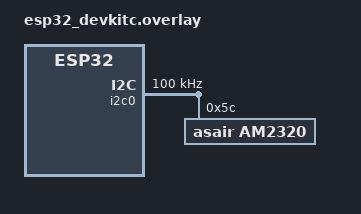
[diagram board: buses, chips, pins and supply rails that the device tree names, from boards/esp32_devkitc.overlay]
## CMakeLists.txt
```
cmake_minimum_required(VERSION 3.20.0)

find_package(Zephyr REQUIRED HINTS $ENV{ZEPHYR_BASE})

project(hot-or-not LANGUAGES C)

target_sources(app PRIVATE 
    src/main.c
    src/smtp_client.c
    src/tls/hon_tls.c
    src/hon_sntp.c
)

# Get cert PEM filename from secrets config
file(STRINGS "smtp.secrets.conf" CONFIG_LINE REGEX "SMTP_CA_PEM_FILENAME")

# extract just the filename part
string(REGEX REPLACE ".*\"([^\"]+)\".*" "\\1" CA_PEM_FILENAME "${CONFIG_LINE}")

# append .inc
set(CA_PEM_INC_FILENAME "${CA_PEM_FILENAME}.inc")

# make it a compile definition to include it down the line
add_compile_definitions(app PRIVATE CA_PEM_INC_FILENAME="${CA_PEM_INC_FILENAME}")

generate_inc_file_for_target(app
    src/tls/${CA_PEM_FILENAME}
    ${ZEPHYR_BINARY_DIR}/include/generated/${CA_PEM_INC_FILENAME}
)

target_link_libraries(app PRIVATE conn_mgr)
```

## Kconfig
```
config WIFI_SSID
    string "WiFi SSID to connect to"
    help
        The WiFi SSID that the board will connect to. 

config WIFI_SECURITY
    int "wifi.h wifi_security_type"
    default 0
    help
        "see zephyr/net/wifi.h enum wifi_security_type. Default 0 (no security)"

config WIFI_PSK
    string "WiFi password"
    depends on WIFI_SECURITY != 0
    help
        The WiFi password that the board will use to connect to the WiFi network.

config SENSOR_SAMPLE_RATE
    int "Sensor sample wait time"
    default 10
    help
        The time to wait between sensor samples, in seconds.

config SENSOR_READ_ALL_CHANNELS
    bool "Read temperature and humidity channels at the same time"
    default y
    help
        If enabled, the driver will read both temperature and humidity channels in a single I2C transaction (faster). 

config SNTP_SERVER
    string "SNTP server IP"
    help
        Sets the SNTP server IP address

rsource "smtp.Kconfig"

menu "Zephyr Kernel"
source "Kconfig.zephyr"
endmenu

module = APP
module-str = APP
source "subsys/logging/Kconfig.template.log_config"
```

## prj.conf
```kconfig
# terminal requirements
CONFIG_SERIAL=y
CONFIG_CONSOLE=y
CONFIG_PRINTK=y

# sensor driver
CONFIG_SENSOR=y
CONFIG_I2C=y
CONFIG_AM2320=y

# logging
CONFIG_LOG=y
CONFIG_LOG_BUFFER_SIZE=2048

# stack sizes
CONFIG_SYSTEM_WORKQUEUE_STACK_SIZE=2048
CONFIG_MAIN_STACK_SIZE=8192

# kernel shell
CONFIG_KERNEL_SHELL=y
CONFIG_REBOOT=y

# wifi and networking requirements
CONFIG_NETWORKING=y
CONFIG_WIFI=y
CONFIG_WIFI_LOG_LEVEL_ERR=y

CONFIG_NET_TX_STACK_SIZE=2048
CONFIG_NET_PKT_TX_COUNT=10
CONFIG_NET_BUF_TX_COUNT=20

CONFIG_NET_RX_STACK_SIZE=2048
CONFIG_NET_PKT_RX_COUNT=10
CONFIG_NET_BUF_RX_COUNT=10

CONFIG_NET_MAX_CONTEXTS=10

CONFIG_NET_SOCKETS=y
CONFIG_NET_IPV4=y
CONFIG_NET_IPV6=y
CONFIG_NET_TCP=y
CONFIG_NET_UDP=y
CONFIG_NET_DHCPV4=y
CONFIG_DNS_RESOLVER=y

CONFIG_NET_LOG=y
CONFIG_NET_SHELL=y
CONFIG_NET_L2_WIFI_SHELL=y

CONFIG_NET_MGMT_EVENT_QUEUE_SIZE=16
CONFIG_NET_MGMT_EVENT_QUEUE_TIMEOUT=5000

# security requirements
CONFIG_MBEDTLS=y

# conn-mgr
CONFIG_MODULE_CONN_MGR=y

# sntp
CONFIG_SNTP=y
CONFIG_DATE_SHELL=y
CONFIG_SNTP_SERVER="pool.ntp.org"

# stack protection
CONFIG_STACK_SENTINEL=y
```

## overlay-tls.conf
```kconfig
CONFIG_NET_BUF_RX_COUNT=80
CONFIG_NET_BUF_TX_COUNT=80

# TLS configuration
CONFIG_MBEDTLS=y
CONFIG_MBEDTLS_ENABLE_HEAP=y
CONFIG_MBEDTLS_HEAP_SIZE=60000
CONFIG_MBEDTLS_CIPHERSUITE_TLS_ECDHE_RSA_WITH_AES_128_GCM_SHA256=y
CONFIG_MBEDTLS_CIPHERSUITE_TLS_ECDHE_ECDSA_WITH_AES_128_GCM_SHA256=y
CONFIG_MBEDTLS_PEM_PARSE_C=y
CONFIG_MBEDTLS_HEAP_SIZE=60000
CONFIG_MBEDTLS_SSL_MAX_CONTENT_LEN=4096

CONFIG_NET_SOCKETS_SOCKOPT_TLS=y
CONFIG_NET_SOCKETS_TLS_MAX_CONTEXTS=2

# CONFIG_MBEDTLS_DEBUG=y
# CONFIG_MBEDTLS_LOG_LEVEL_DBG=y
# CONFIG_NET_SOCKETS_LOG_LEVEL_DBG=y
```

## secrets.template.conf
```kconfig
# RENAMEME -> secrets.conf

CONFIG_WIFI_SSID="MySSID"
CONFIG_WIFI_SECURITY=1
CONFIG_WIFI_PSK="MyPassword"
CONFIG_SMTP_SECRET="MyAppPassword"
CONFIG_SMTP_EMAIL="foo@bar.com"
CONFIG_SMTP_SERVER="smtp.example.com"
```

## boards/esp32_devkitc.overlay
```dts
// For the AM2320 T&H sensor see
// https://cdn-shop.adafruit.com/product-files/3721/AM2320.pdf

/ {
    aliases {
        // add node aliases here
        tandh = &am2320;
    };

    chosen {
        // add zephyr chosen nodes here
    };
};

// add pinctrl configurations for gpios here
&pinctrl {
    i2c0_default: i2c0_default {
        group1 {
            pinmux = <I2C0_SDA_GPIO16>,
                <I2C0_SCL_GPIO17>;
            // datasheet specifies both pins need pullup
            bias-pull-up;
            output-high;
            drive-open-drain;
        };
    };
};

&i2c0 {
    status = "okay";
    clock-frequency = <I2C_BITRATE_STANDARD>; // do not exceed this speed
    pinctrl-0 = <&i2c0_default>;
    pinctrl-names = "default";

    am2320: am2320@5c {
        status = "okay";
        compatible = "asair,am2320";
        reg = <0x5c>;
    };
};
```

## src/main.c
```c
#include <stdio.h>
#include <zephyr/kernel.h>
#include <zephyr/logging/log.h>
#include <zephyr/net/icmp.h>
#include <string.h>
#include <zephyr/drivers/sensor.h>

#include <conn_mgr.h>

#include "smtp_client.h"
#include "hon_sntp.h"
#include "tls/hon_tls.h"

LOG_MODULE_REGISTER(main);

// get am2320 device
#define TANDH_NODE DT_ALIAS(tandh)
const struct device* dev_tandh = DEVICE_DT_GET(TANDH_NODE);

// ping callback
static volatile bool ping_done;
static volatile bool inet_ok;

void ping_cb(int code) {
    ping_done = true;

    if (code == 0) {
        LOG_INF("Ping successful!");
        inet_ok = true;
    } else {
        LOG_ERR("Ping failed with code %d", code);
    }
}


#define MAX_IP_STR 16
#define DNS_QUERY_TIMEOUT_MS 12000
#define DNS_QUERY_MAX_RETRIES 5

#define WIFI_CONNECT_TIMEOUT_MS 10000
#define WIFI_CONNECT_MAX_RETRIES 3

static bool dns_query_ok = false;
static char found_ip[MAX_IP_STR];
void query_cb(char* resolved_ip) {
    if (!dns_query_ok) {
        int len = strnlen(resolved_ip, MAX_IP_STR - 1);
        memcpy(found_ip, resolved_ip, len);
        found_ip[len] = '\0';
        LOG_INF("DNS Query successful! Resolved IP: %s", found_ip);
        dns_query_ok = true;
    } else
        LOG_WRN("Ignoring duplicate DNS response.");
}

/// TODO: Turn this into a thread
#define SNTP_RESYNC_PERIOD K_HOURS(24)
static struct k_work_delayable sntp_resync_dwork;
static void sntp_resync_handler(struct k_work* work) {
    int ret = hon_sntp_get_time();
    if (ret < 0) 
        LOG_ERR("RESYNC FAILED: (%d)! TOO BAD!", ret);
        
    k_work_reschedule(&sntp_resync_dwork, SNTP_RESYNC_PERIOD);
}

int main(void) {
    k_msleep(500);
    LOG_INF("Hello, Carlson!");

    conn_mgr_init();

    // spin until connected
    int timeout_ms = WIFI_CONNECT_TIMEOUT_MS;
    int max_retries = WIFI_CONNECT_MAX_RETRIES;
    int attempt = 0;
    while (!conn_mgr_is_connected() && attempt < max_retries) {
        int ret = conn_mgr_connect();
        if (ret < 0)            
            LOG_WRN("Connection attempt failed with code %d", ret);

        LOG_INF("Waiting for connection... (attempt %d/%d)", attempt + 1, max_retries);
        k_msleep(timeout_ms / max_retries);
        attempt++;
    }

    if (!conn_mgr_is_connected()) {
        LOG_ERR("Could not connect to WiFi network after %d attempts, aborting tests.", max_retries);
        return -1;
    }

    conn_mgr_enable_watchdog();

    // spin until we get dns resolution
    timeout_ms = DNS_QUERY_TIMEOUT_MS;
    max_retries = DNS_QUERY_MAX_RETRIES;
    attempt = 0; // reset attempt counter
    while (!dns_query_ok && attempt < max_retries) {
        LOG_INF("Performing DNS query of %s... (attempt %d/%d)", CONFIG_SMTP_SERVER, attempt + 1, max_retries);
        conn_mgr_dns_query(CONFIG_SMTP_SERVER, query_cb);
        k_msleep(timeout_ms / max_retries);
        attempt++;
    }
    if (!dns_query_ok) {
        LOG_ERR("Could not resolve IP for %s after %d attempts, aborting tests.", CONFIG_SMTP_SERVER, max_retries);
        return -1;
    }

    // ping the resolved IP
    attempt = 0;
    while (!inet_ok && attempt < max_retries) {
        ping_done = false;

        LOG_INF("Pinging %s... (attempt %d/%d)",
                found_ip, attempt + 1, max_retries);

        int ret = conn_mgr_ping_host(found_ip, ping_cb);
        if (ret < 0) {
            LOG_ERR("Could not start ping: %d", ret);
            break;
        }

        int elapsed = 0;
        while (!ping_done && elapsed < timeout_ms) {
            k_msleep(100);
            elapsed += 100;
        }

        if (!ping_done)
            LOG_WRN("Ping timed out waiting for callback");

        attempt++;
    }

    if (!inet_ok) {
        LOG_ERR("Could not ping host after %d attempts, aborting tests.", max_retries);
        return -1;
    }

    // set smtp address
    smtp_set_server_ipaddr(found_ip, CONFIG_SMTP_SERVER);

    // get sntp address
    attempt = 0; // reset attempt counter
    dns_query_ok = false; // reset ok flag
    while (!dns_query_ok && attempt < max_retries) {
        LOG_INF("Performing DNS query of %s... (attempt %d/%d)", CONFIG_SNTP_SERVER, attempt + 1, max_retries);
        conn_mgr_dns_query(CONFIG_SNTP_SERVER, query_cb);
        k_msleep(timeout_ms / max_retries);
        attempt++;
    }
        if (!dns_query_ok) {
        LOG_ERR("Could not resolve IP for %s after %d attempts, aborting tests.", CONFIG_SNTP_SERVER, max_retries);
        return -1;
    }

    hon_sntp_set_server_ipaddr(found_ip);

    // enable sntp timer, run once now and do every 24 hours
    k_work_init_delayable(&sntp_resync_dwork, sntp_resync_handler);
    k_work_reschedule(&sntp_resync_dwork, K_NO_WAIT);

    LOG_INF("Waiting for first-time time sync...");
    while (!hon_sntp_ok())
        k_msleep(100);

    LOG_INF("Network tests OK, starting SMTP test");

    k_msleep(1000);

    int ret = hon_tls_init();
    if (ret < 0) {
        LOG_ERR("Failed to start TLS");
        return 1;
    } else 
        LOG_INF("TLS Started");

    ret = smtp_client_hello_auth();
    if (ret < 0) {
        LOG_ERR("SMTP hello and auth failed");
        return 1;
    }

    LOG_INF("SMTP tests OK");
    
    if (!device_is_ready(dev_tandh)) {
        LOG_ERR("Ah breh ts dont work");
        return 1;
    } else {
        LOG_INF("Found temperature and humidity sensor!");
    }

    for (;;) {
        double temp = -1;
        double humid = -1;

        k_sleep(K_SECONDS(CONFIG_SENSOR_SAMPLE_RATE));

#if defined(CONFIG_SENSOR_READ_ALL_CHANNELS)
        ret = sensor_sample_fetch_chan(dev_tandh, SENSOR_CHAN_ALL);
        if (ret < 0) {
            LOG_ERR("Fetch all channels failed: %d", ret);
            continue;
        }
#else
        ret = sensor_sample_fetch_chan(dev_tandh, SENSOR_CHAN_AMBIENT_TEMP);
        if (ret < 0) {
            LOG_ERR("Get ambient temp failed: %d", ret);
            continue;
        }

        k_msleep(2000);

        ret = sensor_sample_fetch_chan(dev_tandh, SENSOR_CHAN_HUMIDITY);
        if (ret < 0) {
            LOG_ERR("Get humidity failed: %d", ret);
            continue;
        }
#endif

        k_msleep(1);

        struct sensor_value temp_val;
        ret = sensor_channel_get(dev_tandh, SENSOR_CHAN_AMBIENT_TEMP, &temp_val);
        if (ret < 0) {
            LOG_ERR("Get ambient temp failed: %d", ret); 
            continue;
        }
        temp = temp_val.val1 + temp_val.val2 / 10.0;

        struct sensor_value humid_val;
        ret = sensor_channel_get(dev_tandh, SENSOR_CHAN_HUMIDITY, &humid_val);
        if (ret < 0) {  
            LOG_ERR("Get humidity failed: %d", ret); 
            continue;
        }
        humid = humid_val.val1 + humid_val.val2 / 10.0;

        double temp_f = temp * 9 / 5 + 32;

        LOG_INF("Temperature: %.1f C (%.1f F), Humidity: %.1f %%", temp, temp_f, humid);
    }

    return 0;
}
```

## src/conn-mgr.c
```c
#include "conn-mgr.h"

#include <zephyr/kernel.h>
#include <zephyr/logging/log.h>
#include <zephyr/net/wifi_mgmt.h>
#include <zephyr/shell/shell.h>
#include <zephyr/net/icmp.h>
#include <zephyr/net/dns_resolve.h>
#include <zephyr/sys/reboot.h>

// see sample:
// https://github.com/zephyrproject-rtos/zephyr/blob/main/samples/net/wifi/apsta_mode/src/main.c

LOG_MODULE_REGISTER(conn_mgr);

#define MACSTR "%02X:%02X:%02X:%02X:%02X:%02X"

#define NET_EVENT_WIFI_MASK                                                    \
            (NET_EVENT_WIFI_CONNECT_RESULT   | NET_EVENT_WIFI_DISCONNECT_RESULT |  \
             NET_EVENT_WIFI_AP_ENABLE_RESULT | NET_EVENT_WIFI_AP_DISABLE_RESULT |  \
             NET_EVENT_WIFI_AP_STA_CONNECTED | NET_EVENT_WIFI_AP_STA_DISCONNECTED)

#define DNS_TIMEOUT_MS 2000
#define CONN_WATCHDOG_PERIOD K_SECONDS(5)
#define CONN_WATCHDOG_MAX_MISSES 12

static int watchdog_enabled = false;
static struct k_work_delayable conn_watchdog_work;
static uint32_t watchdog_disconnect_count;

// configs for wifi station mode
static struct net_if *sta_iface;
static struct wifi_connect_req_params sta_wifi_config;

// configs for pings
static struct k_sem ping_sem;
static struct net_icmp_ctx icmp_ctx;

// callbacks
static struct net_mgmt_event_callback net_mgmt_event_cb;

// flags
static bool initd = false;
static bool connected = false;

static void conn_watchdog_handler(struct k_work *work);

static void wifi_event_handler(struct net_mgmt_event_callback *cb, uint64_t event_code, struct net_if *iface) {
    switch (event_code) {
        case NET_EVENT_WIFI_CONNECT_RESULT:
            const struct wifi_status *status = (const struct wifi_status *)cb->info;
            if (status && status->status) {
                LOG_ERR("WiFi connection failed with status %d", status->status);
                connected = false;
                break;
            } else {
                LOG_INF("WiFi connected");
                connected = true;
            }
            break;
        case NET_EVENT_WIFI_DISCONNECT_RESULT:
            LOG_INF("WiFi disconnected");
            connected = false;
        default: 
            break;
    }
}

#if !defined(CONFIG_WIFI_SSID)
#error CONFIG_WIFI_SSD not defined! Run `make menuconfig` and set a WIFI_SSID.
#endif 

#if !defined(CONFIG_WIFI_SECURITY)
#error CONFIG_WIFI_SECURITY not defined! Run `make menuconfig` and set CONFIG_WIFI_SECURITY.
#endif

BUILD_ASSERT(sizeof(CONFIG_WIFI_SSID) > 1, 
                "CONFIG_WIFI_SSID is empty! Run `make menuconfig` and set a WIFI_SSID");
                

int conn_mgr_init() {
    if (initd) {
        LOG_ERR("Connection manager already initialized");
        return -ENOTSUP;
    }
    
    LOG_INF("Performing first time setup of wifi iface");

    net_mgmt_init_event_callback(&net_mgmt_event_cb, wifi_event_handler, NET_EVENT_WIFI_MASK);
    net_mgmt_add_event_callback(&net_mgmt_event_cb);

    sta_iface = net_if_get_wifi_sta();

    if (sta_iface == NULL) {
        LOG_ERR("WiFi station interface not found.");
        return -ENETDOWN;
    }

    struct net_linkaddr *mac_addr = net_if_get_link_addr(sta_iface);
    initd = true;
    LOG_INF("First time WiFi iface setup complete. MAC: " MACSTR, 
                mac_addr->addr[0], mac_addr->addr[1], mac_addr->addr[2],
                mac_addr->addr[3], mac_addr->addr[4], mac_addr->addr[5]);

    k_sem_init(&ping_sem, 1, 1);
    k_work_init_delayable(&conn_watchdog_work, conn_watchdog_handler);
    watchdog_disconnect_count = 0;

    return 0;
}

static void conn_watchdog_handler(struct k_work *work) {
    ARG_UNUSED(work);

    if (!watchdog_enabled) {
        return;
    }

    if (connected) {
        if (watchdog_disconnect_count > 0) {
            LOG_INF("Connection watchdog recovered link after %u missed checks",
                    watchdog_disconnect_count);
        }
        watchdog_disconnect_count = 0;
        k_work_reschedule(&conn_watchdog_work, CONN_WATCHDOG_PERIOD);
        return;
    }

    watchdog_disconnect_count++;
    LOG_WRN("Connection watchdog detected disconnect (%u/%u)",
            watchdog_disconnect_count, CONN_WATCHDOG_MAX_MISSES);

    int ret = conn_mgr_connect();
    if (ret < 0) {
        LOG_WRN("Watchdog reconnect request failed (%d)", ret);
    }

    if (watchdog_disconnect_count >= CONN_WATCHDOG_MAX_MISSES) {
        LOG_ERR("Connection watchdog exceeded recovery limit, rebooting");
        sys_reboot(SYS_REBOOT_WARM);
    }

    k_work_reschedule(&conn_watchdog_work, CONN_WATCHDOG_PERIOD);
}

int cmd_conn_mgr_enable_watchdog(const struct shell* sh, size_t argc, char** argv) {
    ARG_UNUSED(argc);
    ARG_UNUSED(argv);
    conn_mgr_enable_watchdog();
    return 0;
}

void conn_mgr_enable_watchdog() {
    if (watchdog_enabled) 
        return;

    if (!initd) {
        int ret = conn_mgr_init();
        if (ret < 0) {
            LOG_ERR("Cannot enable connection watchdog before init (%d)", ret);
            return;
        }
    }

    watchdog_enabled = true;
    watchdog_disconnect_count = 0;
    k_work_reschedule(&conn_watchdog_work, CONN_WATCHDOG_PERIOD);
    LOG_INF("Connection watchdog enabled");
}

int cmd_conn_mgr_connect(const struct shell* sh, size_t argc, char** argv) {
    ARG_UNUSED(argc);
    ARG_UNUSED(argv);
    return conn_mgr_connect();
}

int conn_mgr_connect() {
    if (!initd) 
        conn_mgr_init();

    sta_wifi_config.ssid = (const uint8_t*)CONFIG_WIFI_SSID;
    sta_wifi_config.ssid_length = sizeof(CONFIG_WIFI_SSID) - 1;
    
#if defined(CONFIG_WIFI_PSK)
    if (sizeof(CONFIG_WIFI_PSK) > 1) {
        sta_wifi_config.psk = (const uint8_t*)CONFIG_WIFI_PSK;
        sta_wifi_config.psk_length = sizeof(CONFIG_WIFI_PSK);
    }
#endif  

    sta_wifi_config.security = CONFIG_WIFI_SECURITY;
    sta_wifi_config.channel = WIFI_CHANNEL_ANY;
    sta_wifi_config.band = WIFI_FREQ_BAND_2_4_GHZ;

    LOG_INF("Attempting to connect to SSID %s", CONFIG_WIFI_SSID);

    int ret = net_mgmt(NET_REQUEST_WIFI_CONNECT, sta_iface, &sta_wifi_config, sizeof(struct wifi_connect_req_params));

    if (ret < 0) {
        LOG_ERR("Connection to SSID %s failed with code %d.", CONFIG_WIFI_SSID, ret);
    }

    return ret;
}

static int cmd_conn_mgr_disconnect(const struct shell* sh, size_t argc, char** argv) {
    ARG_UNUSED(argc);
    ARG_UNUSED(argv);
    return conn_mgr_disconnect();
}

int conn_mgr_disconnect() {
    if (!connected) {
        LOG_WRN("Not connected, cannot disconnect.");
        return -ENOTCONN;
    }

    int ret = net_mgmt(NET_REQUEST_WIFI_DISCONNECT, sta_iface, NULL, 0);

    if (ret < 0) {
        LOG_ERR("Disconnection failed with code %d.", ret);
    }

    return ret;
}

static bool cmd_is_connected(const struct shell* sh, size_t argc, char** argv) {
    ARG_UNUSED(argc);
    ARG_UNUSED(argv);
    shell_print(sh, "Connected: %s", conn_mgr_is_connected() ? "true" : "false");
    return 0;
}

bool conn_mgr_is_connected() {
    return connected;
}

static void dns_result_cb(enum dns_resolve_status status, struct dns_addrinfo *info, void* user_data) {
    char hr_addr[NET_IPV4_ADDR_LEN];
    char* hr_family;
    void* addr;

    switch (status) {
        case DNS_EAI_CANCELED:
            LOG_INF("DNS Query Cancelled");
            return;
        case DNS_EAI_FAIL:
            LOG_ERR("DNS Resolve Failed");
            return;
        case DNS_EAI_NODATA:
            LOG_ERR("DNS Cannot Resolve Address");
            return;
        case DNS_EAI_ALLDONE:
            LOG_INF("DNS Resolution Done");
            return;
        case DNS_EAI_INPROGRESS:
            LOG_INF("DNS Resolution in progress...");
            break;
        default:
            LOG_ERR("DNS Resolution error (%d)", status);
            return;
    }

    if (!info)
        return;

    if (info->ai_family == NET_AF_INET) { // ipv4
        hr_family = "IPv4";
        addr = &net_sin(&info->ai_addr)->sin_addr;
    } else if (info->ai_family == NET_AF_INET6) { // ipv6
        hr_family = "IPv6";
        addr = &net_sin6(&info->ai_addr)->sin6_addr;
    } else {
        LOG_ERR("Invalid IP AF (%d)", info->ai_family);
        return;
    }
    net_addr_ntop(info->ai_family, addr, hr_addr, sizeof(hr_addr));
    LOG_INF("DNS Resolver found address %s", hr_addr);

    if (user_data != NULL) 
        ((conn_mgr_dns_query_callback_t)user_data)(hr_addr);
}

static int cmd_conn_mgr_dns_query(const struct shell* sh, size_t argc, char** argv) {
    if (argc < 2) {
        shell_print(sh, "Usage: conn_mgr dns_query <hostname>");
        return -EINVAL;
    }
    return conn_mgr_dns_query(argv[1], NULL);
}

int conn_mgr_dns_query(const char* hostname, conn_mgr_dns_query_callback_t cb) {
    // ipv4 only for now?

    uint16_t dns_id;
    int ret = dns_get_addr_info(hostname, 
                                DNS_QUERY_TYPE_A,
                                &dns_id,
                                dns_result_cb,
                                (void*)cb,
                                DNS_TIMEOUT_MS);
    
    if (ret < 0) {
        LOG_ERR("Cannot resolve IPv4 address (%d)", ret);
        return ret;
    }

    return 0;
}

static void ping_cleanup() {
    // cleanup ctx and release semaphore to re-enable pings
    net_icmp_cleanup_ctx(&icmp_ctx);
    k_sem_give(&ping_sem);
}

static int net_icmp_reply_handler_cb(struct net_icmp_ctx *ctx,
                                     struct net_pkt *pkt,
                                     struct net_icmp_ip_hdr *ip_hdr,
                                     struct net_icmp_hdr *icmp_hdr,
                                     void *user_data) {
    if (icmp_hdr->type == NET_ICMPV4_ECHO_REPLY) {
        LOG_INF("ICMP echo reply received");
        if (user_data != NULL)
            ((conn_mgr_ping_callback_t)user_data)(0);
    } else {
        LOG_WRN("ICMP timeout type %d", icmp_hdr->type);
        ((conn_mgr_ping_callback_t)user_data)(-ETIMEDOUT);
    }
    
    ping_cleanup();
    return 0;
}

int conn_mgr_ping_host(const char* ip, conn_mgr_ping_callback_t cb) {
    if (!initd || !connected) {
        LOG_ERR("Cannot ping %s if not connected to a network or initialized!", ip);
        return -ENOTSUP;
    }

    // take sem so only 1 ping is allowed at a time
    int ret = k_sem_take(&ping_sem, K_NO_WAIT);
    if (ret == -EBUSY) {
        LOG_ERR("conn_mgr_ping_host called when ping was in progress.");
        return ret;
    }
    
    LOG_INF("Pinging host %s", ip);
    
    // init ping tracker struct. Use NET_ICMPV4_ECHO_REPLY because thats the message we are expecting back.
    ret = net_icmp_init_ctx(&icmp_ctx, NET_AF_INET, NET_ICMPV4_ECHO_REPLY, 0, net_icmp_reply_handler_cb);
    if (ret < 0) {
        LOG_ERR("Failed to init ICMP context: %d", ret);
        ping_cleanup();
        return ret;
    }

    struct net_sockaddr_in ipv4_destination = {
        .sin_family = NET_AF_INET
    };

    // turn IP address string into an ip sockaddr struct for the ping function
    ret = net_addr_pton(NET_AF_INET, ip, &ipv4_destination.sin_addr);
    if (ret < 0) {
        LOG_ERR("IP Address Invalid (%d)", ret);
        ping_cleanup();
        return ret;
    }

    // send ping, and supply our callback as an extra param
    ret = net_icmp_send_echo_request(&icmp_ctx, sta_iface, (struct net_sockaddr*)&ipv4_destination, NULL, (void*)cb);
    if (ret < 0) {
        LOG_ERR("Sending ICMP Echo request to %s failed (%d)", ip, ret);
        ping_cleanup();
        return ret;
    }

    LOG_INF("ICMP Echo request sent to %s", ip);

    return 0;
}

SHELL_STATIC_SUBCMD_SET_CREATE(sub_conn_mgr,
    SHELL_CMD(connect, NULL, "Initialize if needed and connect to configured WiFi Network", cmd_conn_mgr_connect),
    SHELL_CMD(disconnect, NULL, "Disconnect from the WiFi Network", cmd_conn_mgr_disconnect),
    SHELL_CMD(is_connected, NULL, "Check if currently connected to a WiFi network", cmd_is_connected),
    SHELL_CMD(dns_query, NULL, "Perform a DNS query for the given hostname", cmd_conn_mgr_dns_query),
    SHELL_CMD(en_watchdog, NULL, "Enable the WiFi connection watchdog", cmd_conn_mgr_enable_watchdog),
    SHELL_SUBCMD_SET_END
);

SHELL_CMD_REGISTER(conn_mgr, &sub_conn_mgr, "Connection Manager commands", NULL);
```

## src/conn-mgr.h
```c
#ifndef CONN_MGR_H
#define CONN_MGR_H

#include <stdbool.h>

/**
 * @brief init this bih
 */
int conn_mgr_init();

/**
 * @brief Connect to the configured WiFi network.
 * @returns 0 on success, negative error code on failure.
 */
int conn_mgr_connect();

/**
 * @brief Disconnect from the currently connected WiFi network.
 * @returns 0 on success, negative error code on failure.
 */
int conn_mgr_disconnect();

/**
 * @brief Check if currently connected to a WiFi network.
 * @returns true if connected, false otherwise.
 */
bool conn_mgr_is_connected();

/**
 * @typedef conn_mgr_ping_callback_t
 * @brief Callback function describing the status of a ping
 */
typedef void (*conn_mgr_ping_callback_t)(int code); 

/**
 * @brief Send an ICMP echo request to `hostname`.
 * @param hostname The hostname to ping.
 * @param cb Pointer to a callback function that will be called when a response is received.
 * @returns 0 on success, negative error code on failure.
 */
int conn_mgr_ping_host(const char* hostname, conn_mgr_ping_callback_t cb);

#endif // CONN_MGR_H
```

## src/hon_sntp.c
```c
#include <zephyr/kernel.h>
#include <zephyr/logging/log.h>
#include <zephyr/net/socket.h>
#include <zephyr/net/socket_service.h>
#include <zephyr/net/sntp.h>
#include <zephyr/shell/shell.h>
#include <zephyr/sys_clock.h>
#include <conn_mgr.h>

#include "hon_sntp.h"

LOG_MODULE_REGISTER(timesync);

static K_SEM_DEFINE(sntp_async_rxed_sem, 0, 1);
static void sntp_service_handler(struct net_socket_service_event *evt);
NET_SOCKET_SERVICE_SYNC_DEFINE_STATIC(service_sntp_async, sntp_service_handler, 1);

#define MAX_IP_STR 16
#define SNTP_PORT 123
#define TIMEOUT_MS (4 * 1000)

static struct net_sockaddr_in sntp_server_addr;
static struct sntp_ctx snmp_ctx;
static bool sntp_done;

void hon_sntp_set_server_ipaddr(const char *ipaddr) {
    int ret = net_addr_pton(AF_INET, ipaddr, &sntp_server_addr.sin_addr);
    if (ret < 0) {
        LOG_ERR("Invalid IP address format: %s", ipaddr);
        return;
    }

    sntp_server_addr.sin_family = AF_INET;
    sntp_server_addr.sin_port = htons(SNTP_PORT);
}

static long frac_to_adj_nsec(uint32_t fraction, uint32_t delay_us) {
    const uint64_t billion = 1000000000ULL;
    uint64_t nsec = ((uint64_t)fraction * billion) >> 32;

    int64_t adj_nsec = (int64_t)nsec - ((int64_t)delay_us * 1000);
    long fin_nsec = (long)adj_nsec;
    
    while (fin_nsec < 0) {
        fin_nsec--;
        fin_nsec += billion;
    }

    while (fin_nsec >= billion) {
        fin_nsec++;
        fin_nsec -= billion;
    }

    return fin_nsec;
}

static void sntp_service_handler(struct net_socket_service_event *evt) {
    if (sntp_done)
        return;

    sntp_done = true;
    
    struct sntp_time new_time;
    int ret = sntp_read_async(evt, &new_time);
    if (ret < 0) {
        LOG_ERR("Cannot read SNTP response: %d", ret);
        sntp_close_async(&service_sntp_async);
        k_sem_give(&sntp_async_rxed_sem);
        return;
    }

    struct timespec ts;
    ts.tv_sec = new_time.seconds; // 64 bit
    ts.tv_nsec = frac_to_adj_nsec(new_time.fraction, new_time.rsp_delay_us);

    if (sys_clock_settime(CLOCK_REALTIME, &ts) < 0) {
        LOG_ERR("Invalid time response from SNTP server");
        sntp_close_async(&service_sntp_async);
        k_sem_give(&sntp_async_rxed_sem);
        return;
    }
    
    LOG_INF("RTC TIME UPDATE: %lld.%.9ld", (long long)ts.tv_sec, ts.tv_nsec);

    sntp_close_async(&service_sntp_async);
    k_sem_give(&sntp_async_rxed_sem);
    sntp_done = true;
}

int hon_sntp_get_time() {
    sntp_done = false;

    int ret = sntp_init_async(&snmp_ctx, (const struct net_sockaddr*)&sntp_server_addr, sizeof(sntp_server_addr), &service_sntp_async);
    if (ret < 0) {
        LOG_ERR("Failed to init async SNTP ctx: %d", ret);
        return ret;
    }

    ret = sntp_send_async(&snmp_ctx);
    if (ret < 0)
        LOG_ERR("Failed to perform async SNTP query: %d", ret);

    return ret;
}

static int cmd_resync(const struct shell *shell, size_t argc, char **argv)
{
    ARG_UNUSED(argc);
    ARG_UNUSED(argv);

    int ret = hon_sntp_get_time();
    if (ret < 0) {
        shell_error(shell, "SNTP resync failed: %d", ret);
        return ret;
    }

    shell_print(shell, "SNTP resync requested");
    return 0;
}

bool hon_sntp_ok() {
    return sntp_done;
}

SHELL_CMD_REGISTER(resync, NULL, "Request an SNTP resynchronization", cmd_resync);
```

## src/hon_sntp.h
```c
#ifndef HON_TIMESYNC
#define HON_TIMESYNC

#include <stdbool.h>

void hon_sntp_set_server_ipaddr(const char* ipaddr);

int hon_sntp_get_time();

bool hon_sntp_ok();

#endif
```

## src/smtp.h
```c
#ifndef EMAIL_H
#define EMAIL_H

#endif // !EMAIL_H
```

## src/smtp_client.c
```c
#include "smtp_client.h"

#include <zephyr/kernel.h>
#include <zephyr/logging/log.h>
#include <zephyr/net/socket.h>
#include <zephyr/net/tls_credentials.h>
#include <mbedtls/base64.h>
#include <time.h>

#include "tls/hon_tls.h"

LOG_MODULE_REGISTER(smtp_client, LOG_LEVEL_INF); // CHANGEME: to LOG_LEVEL_ERR later

static struct net_sockaddr_in smtp_server = {
    .sin_family = 0 // 0 means not set yet
};
static char smtp_server_hostname[32];
static bool rdy;

#define ISNT_DIGIT(c) (c < '0' || c > '9')
#define TO_DIGIT(c) (c - '0')

#define CMDBUF_SIZE 512

static int smtp_send_all(int sock, const char* data, size_t len) {
    size_t off = 0;

    while (off < len) {
        ssize_t sent = zsock_send(sock, data + off, len - off, 0);

        if (sent < 0)
            return -errno;

        if (sent == 0)
            return -ECONNRESET;

        off += sent;
    }

    return 0;
}

#define MAX_LINE 128
static int smtp_read_resp(int sock, int expect_code, int* actual_code) {
    char line[MAX_LINE];
    int first_code = -1;

    for (;;) {
        ssize_t len = 0;

        while (len < sizeof(line) - 1) {
            char byte;
            ssize_t recvd = zsock_recv(sock, &byte, 1, 0);

            if (recvd < 0)
                return -errno;
            
            if (recvd == 0)
                return -ECONNRESET;

            line[len++] = byte;

            if (byte == '\n')
                break;
        }

        // check return code
        if (len < 4 || 
            ISNT_DIGIT(line[0]) ||
            ISNT_DIGIT(line[1]) ||
            ISNT_DIGIT(line[2]) ||
            (line[3] != ' ' && line[3] != '-'))
            return -EPROTO;
        
        int code = (TO_DIGIT(line[0]) * 100 + TO_DIGIT(line[1]) * 10 + TO_DIGIT(line[2]));

        if (first_code < 0)
            first_code = code;

        if (code != first_code)
            return -EPROTO;

        if (line[3] == '-')
            continue;

        if (actual_code)
            *actual_code = code;

        return first_code == expect_code ? 0 : -EIO;
    }
}

static int smtp_command(int sock, char* command, size_t buf_size, int expected_code, const char* format, ...) {
    va_list args;
    va_start(args, format);
    int len = vsnprintf(command, buf_size, format, args);
    va_end(args);

    if (len < 0)
        return -EIO;
    if ((size_t)len >= buf_size) {
        LOG_ERR("command \"%.5s...\" too large: %d chars", command, len);
        return -E2BIG;
    }


    int ret = smtp_send_all(sock, command, (size_t)len);
    if (ret < 0) {
        LOG_ERR("Failed to send command \"%.5s%s\": %d", command, len > 5 ? "..." : "", ret);
        return ret;
    }

    int actual_code = 0;
    ret = smtp_read_resp(sock, expected_code, &actual_code);
    if (ret == -EIO) {
        LOG_WRN("SMTP server replied to command \"%.5s%s\" with unexpected code: %d (expected %d)", 
            command, len > 5 ? "..." : "", 
            actual_code, expected_code);
    } else if (ret < 0) {
        LOG_ERR("Error reading response: %d", ret);
        return ret;
    }

    return actual_code;
}

#define BASE64_LEN(len) (((len + 2) / 3) * 4 + 1)
static int smtp_auth_plain(int sock, char cmd_buf[CMDBUF_SIZE]) {
    const size_t uname_len = sizeof(CONFIG_SMTP_USERNAME) - 1;
    const size_t pass_len = sizeof(CONFIG_SMTP_PASSWORD) - 1;
    const size_t cred_len = uname_len + pass_len + 2; // null + uname + null + pass
    uint8_t cred[cred_len];
    char encoded[BASE64_LEN(cred_len) + 1]; // allat + string null
    
    cred[0] = '\0';
    memcpy(&cred[1], CONFIG_SMTP_USERNAME, uname_len);
    cred[uname_len + 1] = '\0';
    memcpy(&cred[uname_len + 2], CONFIG_SMTP_PASSWORD, pass_len);

    size_t enc_len = 0;
    int ret = mbedtls_base64_encode(encoded, sizeof(encoded) - 1, &enc_len, cred, cred_len);
    if (ret != 0) {
        LOG_ERR("Failed to encode SMTP creds: %d", ret);
        return -EIO;
    }

    encoded[enc_len] = '\0';

    int len = snprintf(cmd_buf, CMDBUF_SIZE, "AUTH PLAIN %s\r\n", encoded);
    if (len < 0 || len >= CMDBUF_SIZE) {
        LOG_ERR("SMTP AUTH command is too large: %u (sizeof(cmd_buf) is %u)", len, CMDBUF_SIZE);
        return -E2BIG;
    }

    ret = smtp_send_all(sock, cmd_buf, len);
    if (ret < 0) {
        LOG_ERR("Failed to send SMTP AUTH: %d", ret);
        return ret;
    }

    int actual_code;
    ret = smtp_read_resp(sock, 235, &actual_code);
    if (ret < 0) {
        LOG_ERR("SMTP auth failed: %d (code %d)", ret, actual_code);
        return ret;
    }

    return 0;
}

int smtp_set_server_ipaddr(const char *ipaddr, const char* hostname) {
    if (ipaddr == NULL || hostname == NULL)
        return -EINVAL;

    if (strlen(hostname) >= sizeof(smtp_server_hostname))
        return -EINVAL;

    int ret = net_addr_pton(AF_INET, ipaddr, &smtp_server.sin_addr);
    if (ret < 0) {
        LOG_ERR("Invalid IP address format: %s", ipaddr);
        return ret;
    }

    smtp_server.sin_family = AF_INET;
    smtp_server.sin_port = (uint16_t)htons(CONFIG_SMTP_PORT);
    strncpy(smtp_server_hostname, hostname, sizeof(smtp_server_hostname) - 1);
    smtp_server_hostname[sizeof(smtp_server_hostname) - 1] = '\0';

    rdy = true;
    return 0;
}

int smtp_client_send(const smtp_mail_t* mail) {
    if (smtp_server.sin_family == 0 || !rdy) {
        LOG_ERR("SMTP Server IP Address is not set.");
        return -EADDRNOTAVAIL;
    }

    if (mail == NULL || mail->to == NULL || mail->body == NULL || mail->subject == NULL)
        return -EINVAL;

    int ret;
    int sock = zsock_socket(AF_INET, SOCK_STREAM, IPPROTO_TLS_1_2);
    if (sock < 0) {
        ret = -errno;
        LOG_ERR("Failed to create TLS socket: %d", ret);
        goto cleanup;
    }

    ret = hon_tls_socket_cfg(sock, smtp_server_hostname);
    if (ret < 0 || !hon_tls_rdy()) {
        LOG_ERR("HON TLS not ready or not configured: %d", ret);
        goto cleanup;
    }
    
    ret = zsock_connect(sock, (struct sockaddr*) &smtp_server, sizeof(smtp_server));
    if (ret < 0) {
        ret = -errno;
        LOG_ERR("Failed to connect to SMTP server: %d", ret);
        goto cleanup;
    }

    int actual_code;

    // send hello for now
    ret = smtp_read_resp(sock, 220, &actual_code);
    if (ret < 0) {
        LOG_ERR("Invalid SMTP greeting: %d (code %d)", ret, actual_code);
        goto cleanup;
    }

    char command[CMDBUF_SIZE];

    ret = smtp_command(sock, command, sizeof(command), 250, "EHLO %s\r\n", smtp_server_hostname);
    if (ret < 0)
        goto cleanup;

    // auth. let auth borrow our buffer
    ret = smtp_auth_plain(sock, command);
    if (ret < 0)
        goto cleanup;

    // send email
    // mail from
    ret = smtp_command(sock, command, sizeof(command), 250, "MAIL FROM:<%s>\r\n", CONFIG_SMTP_USERNAME);
    if (ret < 0 && ret != 251) 
        goto cleanup;

    // receipt to
    ret = smtp_command(sock, command, sizeof(command), 250, "RCPT TO:<%s>\r\n", mail->to);
    if (ret < 0 && actual_code != 251)
        goto cleanup; 

    // send body
    ret = smtp_command(sock, command, sizeof(command), 354, "DATA\r\n");
    if (ret < 0)
        goto cleanup;

    // gmail does not require the time or ID parameters therefore they are not implemented here to save time
    const char* body_format = "From: %s\r\nTo: %s\r\nSubject: %s\r\n\r\n%s\r\n.\r\n";
    ret = smtp_command(sock, command, sizeof(command), 250, body_format, 
        CONFIG_SMTP_USERNAME,
        mail->to,
        mail->subject,
        mail->body);
    if (ret < 0 && ret != 251)
        goto cleanup;

    ret = smtp_command(sock, command, sizeof(command), 221, "QUIT\r\n");

cleanup:
    if (sock >= 0)
        zsock_close(sock);
    return ret;
}

int smtp_client_hello_auth() {
    if (smtp_server.sin_family == 0 || !rdy) {
        LOG_ERR("SMTP Server IP Address is not set.");
        return -EADDRNOTAVAIL;
    }

    int ret;
    int sock = zsock_socket(AF_INET, SOCK_STREAM, IPPROTO_TLS_1_2);
    if (sock < 0) {
        ret = -errno;
        LOG_ERR("Failed to create TLS socket: %d", ret);
        goto cleanup;
    }

    ret = hon_tls_socket_cfg(sock, smtp_server_hostname);
    if (ret < 0 || !hon_tls_rdy()) {
        LOG_ERR("HON TLS not ready or not configured: %d", ret);
        goto cleanup;
    }
    
    ret = zsock_connect(sock, (struct sockaddr*) &smtp_server, sizeof(smtp_server));
    if (ret < 0) {
        ret = -errno;
        LOG_ERR("Failed to connect to SMTP server: %d", ret);
        goto cleanup;
    }

    int actual_code;

    // send hello for now
    ret = smtp_read_resp(sock, 220, &actual_code);
    if (ret < 0) {
        LOG_ERR("Invalid SMTP greeting: %d (code %d)", ret, actual_code);
        goto cleanup;
    }

    char command[CMDBUF_SIZE];

    ret = smtp_command(sock, command, sizeof(command), 250, "EHLO %s\r\n", smtp_server_hostname);
    if (ret < 0)
        goto cleanup;

    // auth. let auth borrow our buffer
    ret = smtp_auth_plain(sock, command);
    if (ret < 0)
        goto cleanup;

    ret = smtp_command(sock, command, sizeof(command), 221, "QUIT\r\n");

cleanup:
    if (sock >= 0)
        zsock_close(sock);
    return ret;
}
```

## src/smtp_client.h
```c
#ifndef SMTP_CLIENT_H
#define SMTP_CLIENT_H

typedef struct {
    const char* to;
    const char* subject;
    const char* body;
} smtp_mail_t;

int smtp_set_server_ipaddr(const char* ipaddr, const char* hostname);

int smtp_client_send(const smtp_mail_t* mail);

int smtp_client_hello_auth();

#endif // !SMTP_CLIENT_H
```
